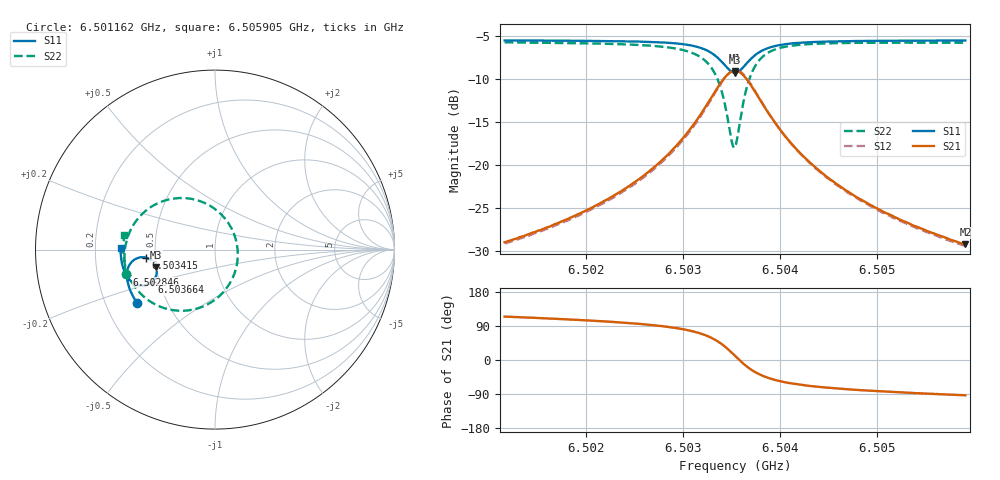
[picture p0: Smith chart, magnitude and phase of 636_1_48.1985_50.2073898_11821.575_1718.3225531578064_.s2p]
#  HZ  S  RI  R  50.00
! Rohde & Schwarz Vector Network Analyzer
! Rohde-Schwarz,ZNB20-2Port,1311601062101988,3.16
! Created: UTC 3/20/2024, 12:04:37 PM
! freq[Hz]  re:S11  im:S11  re:S21  im:S21  re:S12  im:S12  re:S22  im:S22
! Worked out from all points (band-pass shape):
!   401 points, 6.501162 GHz to 6.505905 GHz, reference 50 ohm
!   highest |S21| = -9.08 dB at 6.503533 GHz (marker M1); lowest = -29.2 dB at 6.505905 GHz (marker M2)
!   |S21| within 3 dB of the highest: 6.503297 GHz to 6.503771 GHz (473.7 kHz wide, 0.00728 % of centre)
!   lowest |S11| = -9.3 dB at 6.503533 GHz (marker M3), VSWR 2.04, Z = 24.9 - j5.58 ohm
!   |S11| at or under -10 dB: nowhere
!   |S22| runs from -18.0 to -5.8 dB; largest |S21 - S12| = 0.013
!   S11 on the Smith chart (normalised r, x): 6.501162 GHz: 0.34, -0.27; 6.502846 GHz: 0.33, -0.12; 6.503415 GHz: 0.44, -0.05; 6.503664 GHz: 0.46, -0.19; 6.505905 GHz: 0.31, +0.01
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6.5011618e9  -0.4362 -0.2951  -0.0147 0.0323  -0.013 0.0324  -0.4948 -0.1366
6.5019562e9  -0.469 -0.2346  -0.0138 0.051  -0.0112 0.0505  -0.505 -0.0487
6.5023831e9  -0.4832 -0.1953  -0.0107 0.0707  -0.00741 0.0695  -0.5001 0.0151
6.5027507e9  -0.4908 -0.1529  -0.000514 0.1024  0.00334 0.1  -0.4775 0.0934
6.5028456e9  -0.4912 -0.1394  0.00521 0.1147  0.00912 0.1118  -0.4646 0.1202
6.5030471e9  -0.4855 -0.1049  0.0301 0.1516  0.0341 0.1467  -0.4133 0.1908
6.5031894e9  -0.469 -0.0743  0.0716 0.1865  0.0745 0.1802  -0.3335 0.251
6.5033199e9  -0.4316 -0.0473  0.1512 0.2127  0.1522 0.2063  -0.1884 0.2874
6.5034147e9  -0.3834 -0.045  0.2459 0.1954  0.2463 0.1904  -0.0246 0.2425
6.5034977e9  -0.339 -0.0758  0.3267 0.1178  0.3297 0.1134  0.1051 0.0896
6.5035333e9  -0.3277 -0.0989  0.3449 0.0672  0.3491 0.0613  0.1265 -0.00558
6.503557e9  -0.3246 -0.1158  0.3485 0.0314  0.353 0.024  0.124 -0.0717
6.5035926e9  -0.3269 -0.141  0.3406 -0.0206  0.3448 -0.0304  0.0955 -0.1643
6.5036637e9  -0.3501 -0.1797  0.2919 -0.0999  0.2921 -0.1124  -0.0194 -0.2925
6.5037112e9  -0.3714 -0.1938  0.25 -0.1294  0.2474 -0.1419  -0.1068 -0.3304
6.5037704e9  -0.3974 -0.201  0.2014 -0.1463  0.1959 -0.1571  -0.2029 -0.3406
6.5039246e9  -0.4461 -0.1915  0.1144 -0.1419  0.1067 -0.1477  -0.3597 -0.29
6.5040906e9  -0.4747 -0.17  0.0671 -0.1199  0.0604 -0.1227  -0.4357 -0.2212
6.5043277e9  -0.496 -0.1403  0.0357 -0.0937  0.0305 -0.0943  -0.481 -0.1462
6.5046598e9  -0.511 -0.104  0.0166 -0.07  0.0129 -0.0697  -0.5036 -0.0738
6.5051222e9  -0.5211 -0.06  0.00548 -0.0512  0.00292 -0.0504  -0.5112 -0.0038
6.5059048e9  -0.5264 0.00727  -0.00184 -0.0344  -0.00332 -0.0335  -0.5046 0.0826
